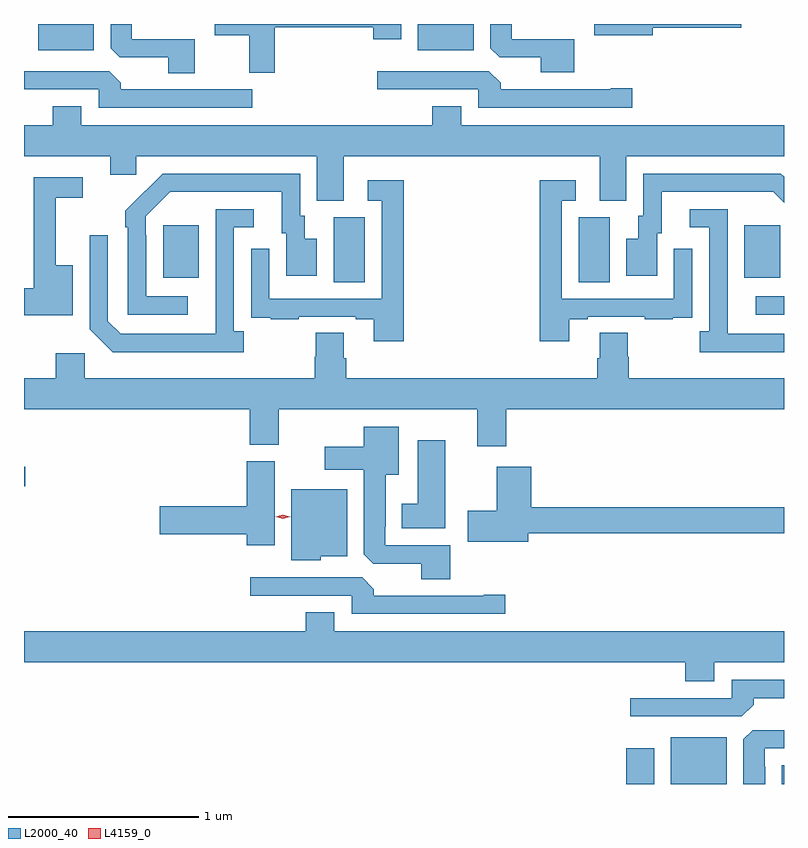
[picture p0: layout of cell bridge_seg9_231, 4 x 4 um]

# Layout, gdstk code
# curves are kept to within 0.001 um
import gdstk
lib = gdstk.Library(unit=1e-6, precision=1e-09)
def R(c, l, rs):  # rectangles x0, y0, x1, y1
    for r in rs: c.add(gdstk.rectangle(r[:2], r[2:], *l))
def P(c, l, *ps):  # polygons
    for p in ps: c.add(gdstk.Polygon(p, *l))
L2000_40 = (2000, 40)
L4159_0 = (4159, 0)

bridge_seg9_231 = lib.new_cell('bridge_seg9_231')
R(bridge_seg9_231, L2000_40, [(222.848,1207.768,222.994,1207.957), (223.082,1207.768,223.375,1208.014), (223.664,1207.768,223.677,1207.867), (219.677,1209.335,219.683,1209.439), (223.527,1210.239,223.677,1210.335), (221.306,1210.408,221.47,1210.752), (222.596,1210.408,222.76,1210.752), (220.409,1210.433,220.597,1210.708), (223.469,1210.433,223.657,1210.708), (219.752,1211.63,220.045,1211.768), (221.75,1211.63,222.043,1211.768)])
P(bridge_seg9_231, L2000_40, [(220.576,1211.688),(220.245,1211.688),(220.245,1211.768),(220.133,1211.768),(220.133,1211.641),(220.182,1211.592),(220.436,1211.592),(220.436,1211.509),(220.576,1211.509)],
  [(220.997,1211.752),(221.516,1211.752),(221.516,1211.688),(221.662,1211.688),(221.662,1211.768),(220.68,1211.768),(220.68,1211.708),(220.862,1211.708),(220.862,1211.511),(220.997,1211.511)],
  [(222.985,1211.747),(223.453,1211.747),(223.453,1211.768),(222.678,1211.768),(222.678,1211.708),(222.985,1211.708)],
  [(222.574,1211.688),(222.243,1211.688),(222.243,1211.768),(222.131,1211.768),(222.131,1211.641),(222.18,1211.592),(222.398,1211.592),(222.398,1211.513),(222.574,1211.513)],
  [(222.877,1211.429),(222.764,1211.429),(222.764,1211.424),(222.185,1211.424),(222.185,1211.458),(222.123,1211.52),(221.535,1211.52),(221.535,1211.424),(222.069,1211.424),(222.069,1211.328),(222.877,1211.328)],
  [(220.879,1211.424),(220.187,1211.424),(220.187,1211.458),(220.125,1211.52),(219.677,1211.52),(219.677,1211.424),(220.071,1211.424),(220.071,1211.328),(220.879,1211.328)],
  [(221.359,1211.072),(222.707,1211.072),(222.707,1210.837),(222.847,1210.837),(222.847,1211.072),(223.677,1211.072),(223.677,1211.236),(221.977,1211.236),(221.977,1211.335),(221.825,1211.335),(221.825,1211.236),(219.979,1211.236),(219.979,1211.335),(219.827,1211.335),(219.827,1211.236),(219.677,1211.236),(219.677,1211.072),(220.13,1211.072),(220.13,1210.974),(220.269,1210.974),(220.269,1211.072),(221.219,1211.072),(221.219,1210.837),(221.359,1210.837)],
  [(223.009,1210.668),(223.033,1210.668),(223.033,1210.884),(223.621,1210.884),(223.677,1210.828),(223.677,1210.963),(223.66,1210.98),(222.936,1210.98),(222.936,1210.758),(222.911,1210.758),(222.911,1210.639),(222.848,1210.639),(222.848,1210.443),(223.009,1210.443)],
  [(220.54,1210.335),(220.32,1210.335),(220.32,1210.655),(220.317,1210.655),(220.317,1210.755),(220.446,1210.884),(221.033,1210.884),(221.033,1210.668),(221.057,1210.668),(221.057,1210.443),(221.218,1210.443),(221.218,1210.639),(221.155,1210.639),(221.155,1210.758),(221.13,1210.758),(221.13,1210.98),(220.406,1210.98),(220.209,1210.785),(220.209,1210.697),(220.224,1210.697),(220.224,1210.239),(220.54,1210.239)],
  [(219.934,1210.498),(219.845,1210.498),(219.845,1210.854),(219.985,1210.854),(219.985,1210.962),(219.727,1210.962),(219.727,1210.376),(219.677,1210.376),(219.677,1210.234),(219.934,1210.234)],
  [(221.675,1210.945),(221.487,1210.945),(221.487,1210.839),(221.559,1210.839),(221.559,1210.323),(220.968,1210.323),(220.968,1210.585),(220.872,1210.585),(220.872,1210.33),(220.873,1210.33),(220.873,1210.221),(220.975,1210.221),(220.975,1210.215),(221.123,1210.215),(221.123,1210.227),(221.423,1210.227),(221.423,1210.215),(221.519,1210.215),(221.519,1210.098),(221.675,1210.098)],
  [(222.547,1210.215),(222.643,1210.215),(222.643,1210.227),(222.943,1210.227),(222.943,1210.215),(223.091,1210.215),(223.091,1210.221),(223.193,1210.221),(223.193,1210.33),(223.194,1210.33),(223.194,1210.585),(223.098,1210.585),(223.098,1210.323),(222.507,1210.323),(222.507,1210.839),(222.58,1210.839),(222.58,1210.945),(222.391,1210.945),(222.391,1210.098),(222.547,1210.098)],
  [(220.834,1210.15),(220.782,1210.15),(220.782,1210.698),(220.885,1210.698),(220.885,1210.794),(220.686,1210.794),(220.685,1210.137),(220.185,1210.137),(220.119,1210.203),(220.119,1210.657),(220.023,1210.657),(220.023,1210.161),(220.144,1210.04),(220.834,1210.04)],
  [(223.677,1210.137),(223.381,1210.137),(223.381,1210.337),(223.38,1210.337),(223.38,1210.794),(223.182,1210.794),(223.182,1210.698),(223.284,1210.698),(223.284,1210.15),(223.233,1210.15),(223.233,1210.04),(223.677,1210.04)],
  [(222.215,1209.74),(223.677,1209.74),(223.677,1209.904),(222.86,1209.904),(222.86,1210.017),(222.855,1210.017),(222.855,1210.142),(222.707,1210.142),(222.707,1210.01),(222.695,1210.01),(222.695,1209.904),(221.372,1209.904),(221.372,1210.01),(221.359,1210.01),(221.359,1210.142),(221.212,1210.142),(221.212,1210.017),(221.207,1210.017),(221.207,1209.904),(219.996,1209.904),(219.996,1210.036),(219.845,1210.036),(219.845,1209.904),(219.677,1209.904),(219.677,1209.74),(220.865,1209.74),(220.865,1209.553),(221.017,1209.553),(221.017,1209.74),(222.062,1209.74),(222.062,1209.546),(222.215,1209.546)],
  [(221.921,1209.024),(221.577,1209.024),(221.577,1209.121),(221.581,1209.121),(221.581,1209.395),(221.65,1209.395),(221.65,1209.649),(221.465,1209.649),(221.465,1209.544),(221.259,1209.544),(221.259,1209.422),(221.465,1209.422),(221.465,1208.977),(221.514,1208.928),(221.768,1208.928),(221.768,1208.845),(221.921,1208.845)],
  [(221.893,1209.577),(221.75,1209.577),(221.75,1209.244),(221.666,1209.244),(221.666,1209.113),(221.893,1209.113)],
  [(220.996,1209.468),(220.85,1209.468),(220.85,1209.23),(220.392,1209.23),(220.392,1209.083),(220.85,1209.083),(220.85,1209.024),(220.996,1209.024)],
  [(222.33,1209.088),(223.677,1209.088),(223.677,1209.224),(222.347,1209.224),(222.347,1209.439),(222.164,1209.439),(222.164,1209.207),(222.012,1209.207),(222.012,1209.044),(222.33,1209.044)],
  [(221.238,1208.966),(221.377,1208.966),(221.377,1209.319),(221.084,1209.319),(221.084,1208.945),(221.238,1208.945)],
  [(222.211,1208.765),(222.098,1208.765),(222.098,1208.76),(221.519,1208.76),(221.519,1208.794),(221.457,1208.856),(220.869,1208.856),(220.869,1208.76),(221.403,1208.76),(221.403,1208.664),(222.211,1208.664)],
  [(223.309,1208.408),(223.677,1208.408),(223.677,1208.572),(221.311,1208.572),(221.311,1208.671),(221.159,1208.671),(221.159,1208.572),(219.677,1208.572),(219.677,1208.408),(223.157,1208.408),(223.157,1208.309),(223.309,1208.309)],
  [(223.517,1208.186),(223.517,1208.22),(223.677,1208.22),(223.677,1208.316),(223.401,1208.316),(223.401,1208.22),(222.867,1208.22),(222.867,1208.124),(223.455,1208.124)],
  [(223.579,1207.859),(223.575,1207.859),(223.575,1207.956),(223.677,1207.956),(223.677,1208.052),(223.512,1208.052),(223.463,1208.003),(223.463,1207.768),(223.579,1207.768)])
P(bridge_seg9_231, L4159_0, [(221.039,1209.164),(221.001,1209.174),(221.001,1209.174),(221.001,1209.175),(221.039,1209.184),(221.077,1209.175),(221.077,1209.174),(221.077,1209.174)])

lib.write_gds('bridge_seg9_231.gds')
